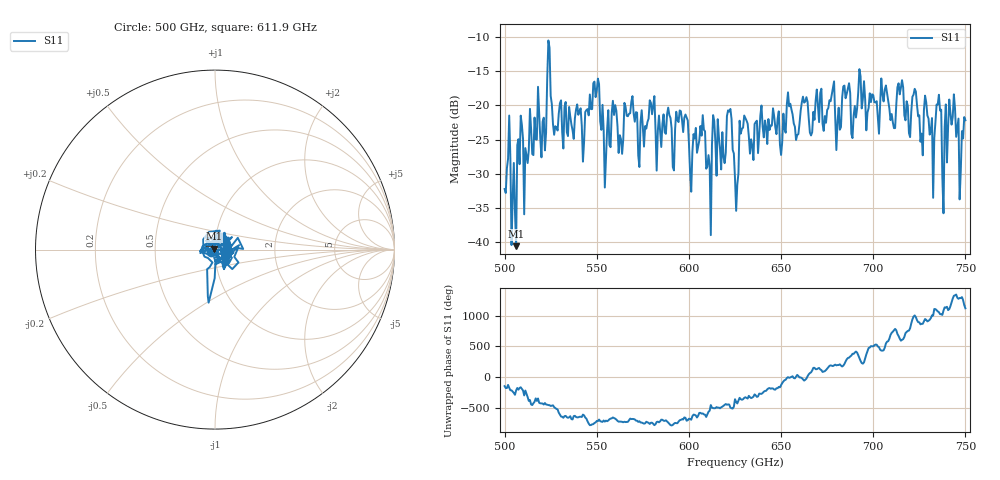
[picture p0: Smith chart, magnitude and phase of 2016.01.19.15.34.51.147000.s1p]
!Created with skrf (http://scikit-rf.org).
# GHz S RI R 50.0
!freq ReS11 ImS11
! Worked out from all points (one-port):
!   401 points, 500 GHz to 750 GHz, reference 50 ohm
!   lowest |S11| = -40.5 dB at 506.2 GHz (marker M1), VSWR 1.02, Z = 49.3 + j0.56 ohm
!   |S11| at or under -10 dB: start of sweep to end of sweep
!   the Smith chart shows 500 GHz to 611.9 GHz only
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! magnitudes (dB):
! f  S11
! 500 GHz  -32.2
! 506.2 GHz  -40.5
! 508.1 GHz  -28.6
! 521.2 GHz  -21.8
! 524.4 GHz  -11.6
! 527.5 GHz  -23.0
! 531.2 GHz  -24.0
! 543.1 GHz  -25.3
! 550 GHz  -17.8
! 553.8 GHz  -23.6
! 559.4 GHz  -21.4
! 562.5 GHz  -24.3
! 593.8 GHz  -22.2
! 601.2 GHz  -32.6
! 607.5 GHz  -21.4
! 610.6 GHz  -27.3
! 621.9 GHz  -20.9
! 625 GHz  -30.7
! 630 GHz  -21.5
! 656.2 GHz  -21.3
! 687.5 GHz  -18.2
! 718.8 GHz  -20.0
! 731.9 GHz  -21.8
! 735.6 GHz  -18.4
! 738.8 GHz  -23.2
! 742.5 GHz  -22.8
! 746.2 GHz  -21.9
! 750 GHz  -22.2
